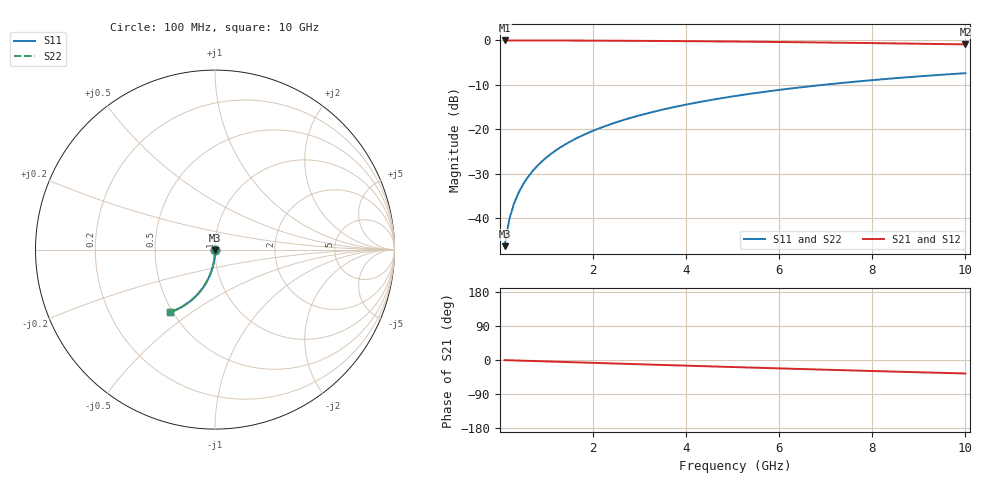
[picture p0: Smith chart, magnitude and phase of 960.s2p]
# Hz S RI R 50.00
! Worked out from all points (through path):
!   100 points, 100 MHz to 10 GHz, reference 50 ohm
!   highest |S21| = 0.00 dB at 100 MHz (marker M1); lowest = -0.9 dB at 10 GHz (marker M2)
!   group delay of S21, straight-line fit = 9.93 ps
!   lowest |S11| = -46.3 dB at 100 MHz (marker M3), VSWR 1.01, Z = 50 - j0.483 ohm
!   |S11| at or under -10 dB: start of sweep to 6.945 GHz
!   |S22| runs from -46.3 to -7.4 dB; largest |S21 - S12| = 0
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1e8  0.000194 -0.00483  0.9997 -0.00655  0.9997 -0.00655  0.000194 -0.00483
2e8  9.54e-05 -0.00965  0.9996 -0.0131  0.9996 -0.0131  9.54e-05 -0.00965
3e8  -6.71e-05 -0.0145  0.9995 -0.0197  0.9995 -0.0197  -6.71e-05 -0.0145
4e8  -0.000293 -0.0193  0.9992 -0.0262  0.9992 -0.0262  -0.000293 -0.0193
5e8  -0.000582 -0.0241  0.9989 -0.0328  0.9989 -0.0328  -0.000582 -0.0241
6e8  -0.000935 -0.0289  0.9985 -0.0393  0.9985 -0.0393  -0.000935 -0.0289
7e8  -0.00135 -0.0337  0.9981 -0.0458  0.9981 -0.0458  -0.00135 -0.0337
8e8  -0.00183 -0.0385  0.9976 -0.0524  0.9976 -0.0524  -0.00183 -0.0385
9e8  -0.00237 -0.0433  0.997 -0.0589  0.997 -0.0589  -0.00237 -0.0433
1.1e9  -0.00364 -0.0529  0.9957 -0.0719  0.9957 -0.0719  -0.00364 -0.0529
1.4e9  -0.00602 -0.0672  0.9932 -0.0914  0.9932 -0.0914  -0.00602 -0.0672
1.8e9  -0.01 -0.086  0.989 -0.1171  0.989 -0.1171  -0.01 -0.086
2.1e9  -0.0137 -0.1  0.9851 -0.1363  0.9851 -0.1363  -0.0137 -0.1
2.5e9  -0.0194 -0.1183  0.9792 -0.1616  0.9792 -0.1616  -0.0194 -0.1183
2.9e9  -0.026 -0.1362  0.9722 -0.1865  0.9722 -0.1865  -0.026 -0.1362
3.4e9  -0.0356 -0.1581  0.9622 -0.217  0.9622 -0.217  -0.0356 -0.1581
4.2e9  -0.0536 -0.1913  0.9433 -0.2643  0.9433 -0.2643  -0.0536 -0.1913
5.1e9  -0.0774 -0.2258  0.9181 -0.3147  0.9181 -0.3147  -0.0774 -0.2258
5.9e9  -0.1014 -0.2537  0.8928 -0.3567  0.8928 -0.3567  -0.1014 -0.2537
6.7e9  -0.1275 -0.2785  0.865 -0.3958  0.865 -0.3958  -0.1275 -0.2785
8.4e9  -0.1884 -0.321  0.8001 -0.469  0.8001 -0.469  -0.1884 -0.321
1e10  -0.2492 -0.348  0.7344 -0.5253  0.7344 -0.5253  -0.2492 -0.348
